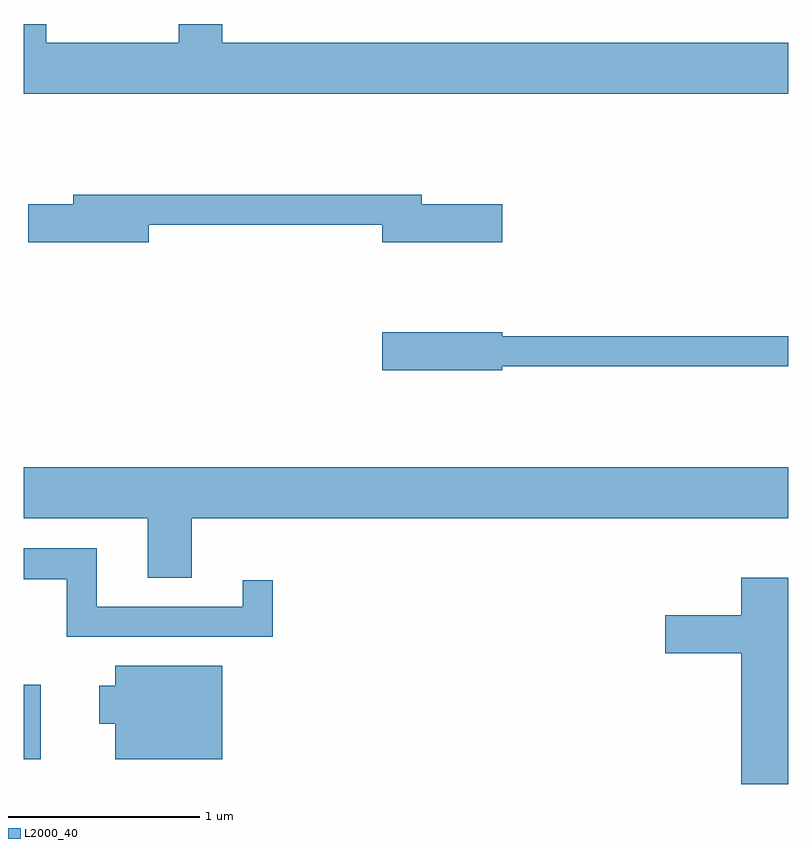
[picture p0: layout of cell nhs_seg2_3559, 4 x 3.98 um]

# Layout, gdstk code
import gdstk
lib = gdstk.Library(unit=1e-6, precision=1e-09)
def R(c, l, rs):  # rectangles x0, y0, x1, y1
    for r in rs: c.add(gdstk.rectangle(r[:2], r[2:], *l))
def P(c, l, *ps):  # polygons
    for p in ps: c.add(gdstk.Polygon(p, *l))
L2000_40 = (2000, 40)

nhs_seg2_3559 = lib.new_cell('nhs_seg2_3559')
R(nhs_seg2_3559, L2000_40, [(289.611,1035.956,289.699,1036.344)])
P(nhs_seg2_3559, L2000_40, [(293.611,1039.704),(290.649,1039.704),(290.649,1039.802),(290.421,1039.802),(290.421,1039.704),(289.729,1039.704),(289.729,1039.802),(289.611,1039.802),(289.611,1039.436),(293.611,1039.436)],
  [(290.264,1038.751),(291.486,1038.751),(291.486,1038.661),(292.114,1038.661),(292.114,1038.859),(291.694,1038.859),(291.694,1038.909),(289.871,1038.909),(289.871,1038.859),(289.636,1038.859),(289.636,1038.661),(290.264,1038.661)],
  [(292.114,1038.011),(293.611,1038.011),(293.611,1038.169),(292.114,1038.169),(292.114,1038.189),(291.486,1038.189),(291.486,1037.991),(292.114,1037.991)],
  [(290.489,1037.216),(293.611,1037.216),(293.611,1037.484),(289.611,1037.484),(289.611,1037.216),(290.261,1037.216),(290.261,1036.906),(290.489,1036.906)],
  [(290.914,1036.892),(290.756,1036.892),(290.756,1036.754),(289.994,1036.754),(289.994,1037.059),(289.611,1037.059),(289.611,1036.896),(289.836,1036.896),(289.836,1036.596),(290.914,1036.596)],
  [(293.611,1036.904),(293.366,1036.904),(293.366,1036.709),(292.966,1036.709),(292.966,1036.511),(293.366,1036.511),(293.366,1035.826),(293.611,1035.826)],
  [(290.649,1036.444),(290.091,1036.444),(290.091,1036.339),(290.006,1036.339),(290.006,1036.141),(290.091,1036.141),(290.091,1035.956),(290.649,1035.956)])

lib.write_gds('nhs_seg2_3559.gds')
